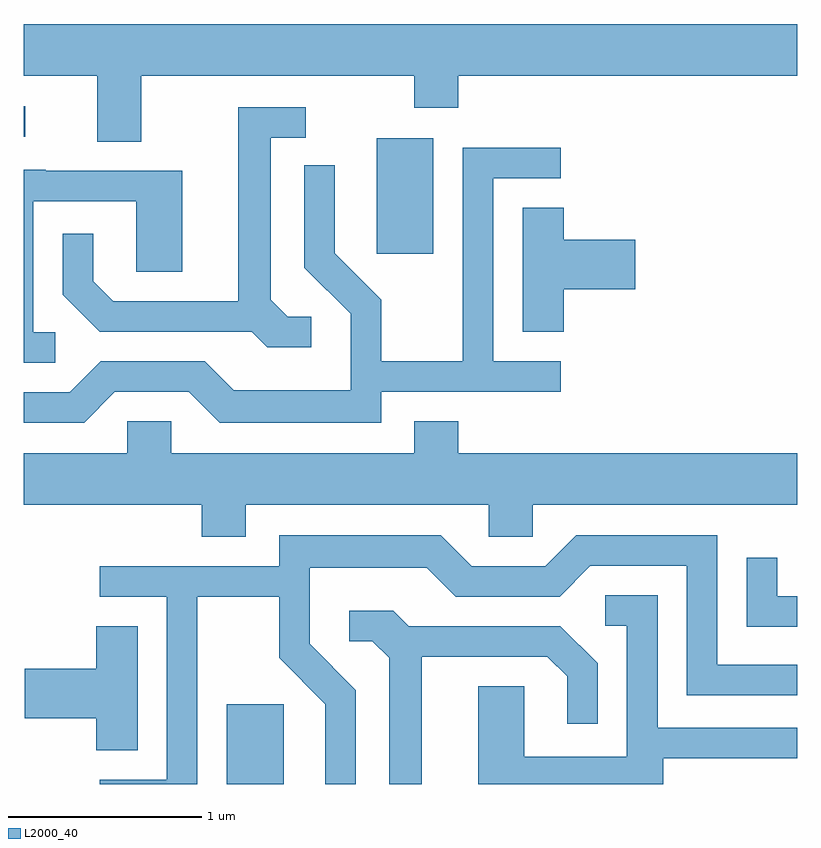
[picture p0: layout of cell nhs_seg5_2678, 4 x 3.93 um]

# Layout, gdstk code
import gdstk
lib = gdstk.Library(unit=1e-6, precision=1e-09)
def R(c, l, rs):  # rectangles x0, y0, x1, y1
    for r in rs: c.add(gdstk.rectangle(r[:2], r[2:], *l))
def P(c, l, *ps):  # polygons
    for p in ps: c.add(gdstk.Polygon(p, *l))
L2000_40 = (2000, 40)

nhs_seg5_2678 = lib.new_cell('nhs_seg5_2678')
R(nhs_seg5_2678, L2000_40, [(266.661,1402.072,266.954,1402.484), (267.436,1404.816,267.729,1405.414), (265.611,1405.421,265.618,1405.579)])
P(nhs_seg5_2678, L2000_40, [(266.219,1405.736),(267.631,1405.736),(267.631,1405.571),(267.859,1405.571),(267.859,1405.736),(269.611,1405.736),(269.611,1406.004),(265.611,1406.004),(265.611,1405.736),(265.991,1405.736),(265.991,1405.396),(266.219,1405.396)],
  [(267.098,1404.489),(266.977,1404.489),(266.889,1404.577),(266.889,1405.416),(267.068,1405.416),(267.068,1405.574),(266.721,1405.574),(266.721,1404.569),(266.072,1404.569),(265.969,1404.672),(265.969,1404.918),(265.811,1404.918),(265.811,1404.604),(266.004,1404.411),(266.789,1404.411),(266.869,1404.331),(267.098,1404.331)],
  [(266.082,1404.101),(266.464,1404.101),(266.624,1403.941),(267.459,1403.941),(267.459,1404.101),(268.388,1404.101),(268.388,1404.259),(268.039,1404.259),(268.039,1405.206),(268.388,1405.206),(268.388,1405.364),(267.881,1405.364),(267.881,1404.259),(267.459,1404.259),(267.459,1404.577),(267.219,1404.817),(267.219,1405.273),(267.061,1405.273),(267.061,1404.744),(267.301,1404.504),(267.301,1404.109),(266.697,1404.109),(266.547,1404.259),(266.009,1404.259),(265.849,1404.099),(265.611,1404.099),(265.611,1403.941),(265.922,1403.941)],
  [(265.773,1404.409),(265.659,1404.409),(265.659,1405.086),(266.191,1405.086),(266.191,1404.721),(266.429,1404.721),(266.429,1405.244),(265.725,1405.244),(265.725,1405.249),(265.611,1405.249),(265.611,1404.251),(265.773,1404.251)],
  [(268.404,1404.631),(268.774,1404.631),(268.774,1404.889),(268.404,1404.889),(268.404,1405.054),(268.191,1405.054),(268.191,1404.411),(268.404,1404.411)],
  [(266.759,1403.516),(268.016,1403.516),(268.016,1403.351),(268.244,1403.351),(268.244,1403.516),(269.611,1403.516),(269.611,1403.784),(267.859,1403.784),(267.859,1403.949),(267.631,1403.949),(267.631,1403.784),(266.374,1403.784),(266.374,1403.949),(266.146,1403.949),(266.146,1403.784),(265.611,1403.784),(265.611,1403.516),(266.531,1403.516),(266.531,1403.351),(266.759,1403.351)],
  [(266.509,1403.041),(266.931,1403.041),(266.931,1402.724),(267.171,1402.484),(267.171,1402.072),(267.329,1402.072),(267.329,1402.557),(267.089,1402.797),(267.089,1403.191),(267.694,1403.191),(267.844,1403.041),(268.382,1403.041),(268.542,1403.201),(269.041,1403.201),(269.041,1402.531),(269.611,1402.531),(269.611,1402.689),(269.199,1402.689),(269.199,1403.359),(268.469,1403.359),(268.309,1403.199),(267.927,1403.199),(267.767,1403.359),(266.931,1403.359),(266.931,1403.199),(266.003,1403.199),(266.003,1403.041),(266.351,1403.041),(266.351,1402.094),(266.003,1402.094),(266.003,1402.072),(266.509,1402.072)],
  [(269.611,1403.044),(269.509,1403.044),(269.509,1403.243),(269.351,1403.243),(269.351,1402.886),(269.611,1402.886)],
  [(268.919,1402.206),(269.611,1402.206),(269.611,1402.364),(268.889,1402.364),(268.889,1403.049),(268.618,1403.049),(268.618,1402.891),(268.731,1402.891),(268.731,1402.214),(268.199,1402.214),(268.199,1402.579),(267.961,1402.579),(267.961,1402.072),(268.919,1402.072)],
  [(267.669,1402.731),(268.319,1402.731),(268.421,1402.629),(268.421,1402.383),(268.579,1402.383),(268.579,1402.697),(268.387,1402.889),(267.602,1402.889),(267.522,1402.969),(267.293,1402.969),(267.293,1402.811),(267.414,1402.811),(267.501,1402.724),(267.501,1402.072),(267.669,1402.072)],
  [(266.199,1402.889),(265.986,1402.889),(265.986,1402.669),(265.616,1402.669),(265.616,1402.411),(265.986,1402.411),(265.986,1402.246),(266.199,1402.246)])

lib.write_gds('nhs_seg5_2678.gds')
